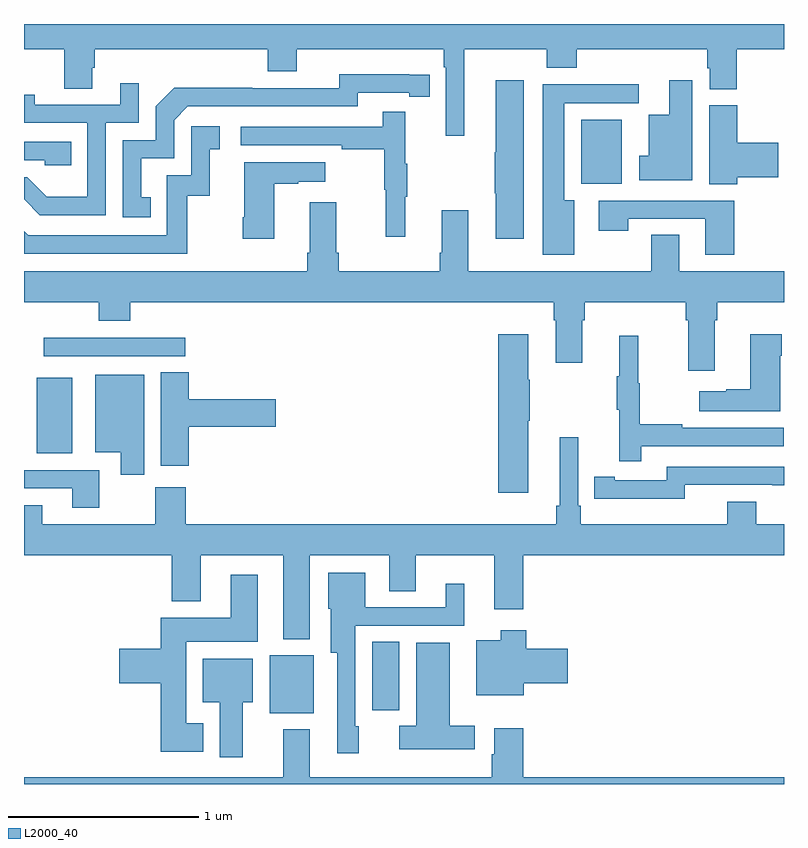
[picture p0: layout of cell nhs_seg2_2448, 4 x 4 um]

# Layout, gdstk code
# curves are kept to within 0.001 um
import gdstk
lib = gdstk.Library(unit=1e-6, precision=1e-09)
def R(c, l, rs):  # rectangles x0, y0, x1, y1
    for r in rs: c.add(gdstk.rectangle(r[:2], r[2:], *l))
def P(c, l, *ps):  # polygons
    for p in ps: c.add(gdstk.Polygon(p, *l))
L2000_40 = (2000, 40)

nhs_seg2_2448 = lib.new_cell('nhs_seg2_2448')
R(nhs_seg2_2448, L2000_40, [(240.293,612.173,240.526,612.478), (240.833,612.187,240.976,612.548), (239.066,613.541,239.254,613.939), (239.103,614.052,239.848,614.148), (241.934,614.96,242.146,615.295)])
P(nhs_seg2_2448, L2000_40, [(239,615.668),(239.212,615.668),(239.212,615.46),(239.359,615.46),(239.359,615.57),(239.372,615.57),(239.372,615.668),(240.284,615.668),(240.284,615.551),(240.436,615.551),(240.436,615.668),(241.208,615.668),(241.208,615.572),(241.221,615.572),(241.221,615.213),(241.318,615.213),(241.318,615.668),(241.75,615.668),(241.75,615.569),(241.91,615.569),(241.91,615.668),(242.597,615.668),(242.597,615.567),(242.609,615.567),(242.609,615.457),(242.75,615.457),(242.75,615.668),(243,615.668),(243,615.8),(239,615.8)],
  [(239.666,614.889),(239.617,614.889),(239.617,615.093),(239.79,615.093),(239.79,615.294),(239.862,615.366),(240.756,615.366),(240.756,615.438),(241.028,615.438),(241.028,615.418),(241.136,615.418),(241.136,615.534),(240.66,615.535),(240.66,615.462),(240.2,615.462),(240.2,615.464),(239.792,615.464),(239.694,615.366),(239.694,615.189),(239.52,615.189),(239.52,614.784),(239.666,614.784)],
  [(242.518,615.505),(242.396,615.505),(242.396,615.322),(242.288,615.322),(242.288,615.106),(242.237,615.106),(242.237,614.978),(242.518,614.978)],
  [(241.63,615.505),(241.484,615.505),(241.484,615.125),(241.477,615.125),(241.477,614.908),(241.484,614.908),(241.484,614.67),(241.63,614.67)],
  [(239.43,615.279),(239.604,615.279),(239.604,615.487),(239.507,615.487),(239.507,615.375),(239.056,615.375),(239.056,615.427),(239,615.427),(239,615.279),(239.334,615.279),(239.334,614.89),(239.12,614.89),(239.016,614.994),(239,614.994),(239,614.877),(239.084,614.793),(239.43,614.793)],
  [(241.897,614.872),(241.843,614.872),(241.843,615.384),(242.236,615.384),(242.236,615.482),(241.73,615.482),(241.73,614.586),(241.897,614.586)],
  [(242.753,614.993),(242.971,614.993),(242.971,615.176),(242.753,615.176),(242.753,615.372),(242.606,615.372),(242.606,614.956),(242.753,614.956)],
  [(241.007,614.891),(241.018,614.891),(241.018,615.065),(241.007,615.065),(241.007,615.337),(240.889,615.337),(240.889,615.258),(240.141,615.258),(240.141,615.162),(240.673,615.162),(240.673,615.142),(240.897,615.142),(240.897,614.928),(240.904,614.928),(240.904,614.679),(241.007,614.679)],
  [(239.86,614.895),(239.978,614.895),(239.978,615.141),(240.031,615.141),(240.031,615.262),(239.88,615.262),(239.88,615.003),(239.751,615.003),(239.751,614.688),(239.022,614.688),(239,614.71),(239,614.592),(239.86,614.592)],
  [(239.249,615.18),(239,615.18),(239,615.084),(239.109,615.084),(239.109,615.057),(239.249,615.057)],
  [(240.316,614.959),(240.443,614.959),(240.443,614.969),(240.586,614.969),(240.586,615.073),(240.158,615.073),(240.158,614.782),(240.151,614.782),(240.151,614.67),(240.316,614.67)],
  [(242.738,614.871),(242.025,614.871),(242.025,614.712),(242.181,614.712),(242.181,614.775),(242.585,614.775),(242.585,614.586),(242.738,614.586)],
  [(242.635,614.24),(242.648,614.24),(242.648,614.336),(243,614.336),(243,614.5),(242.449,614.5),(242.449,614.69),(242.302,614.69),(242.302,614.5),(241.339,614.5),(241.339,614.821),(241.199,614.821),(241.199,614.596),(241.187,614.596),(241.187,614.5),(240.656,614.5),(240.656,614.596),(240.643,614.596),(240.643,614.863),(240.503,614.863),(240.503,614.596),(240.491,614.596),(240.491,614.5),(239,614.5),(239,614.336),(239.393,614.336),(239.393,614.237),(239.558,614.237),(239.558,614.336),(241.787,614.336),(241.787,614.24),(241.799,614.24),(241.799,614.016),(241.939,614.016),(241.939,614.24),(241.952,614.24),(241.952,614.336),(242.483,614.336),(242.483,614.24),(242.495,614.24),(242.495,613.974),(242.635,613.974)],
  [(241.654,613.711),(241.662,613.711),(241.662,613.928),(241.654,613.928),(241.654,614.167),(241.496,614.167),(241.496,613.332),(241.654,613.332)],
  [(242.98,614.054),(242.988,614.054),(242.988,614.167),(242.822,614.167),(242.822,613.877),(242.696,613.877),(242.696,613.867),(242.553,613.867),(242.553,613.763),(242.98,613.763)],
  [(242.249,613.578),(242.998,613.578),(242.998,613.674),(242.465,613.674),(242.465,613.694),(242.242,613.694),(242.242,613.908),(242.234,613.908),(242.234,614.158),(242.132,614.158),(242.132,613.945),(242.121,613.945),(242.121,613.771),(242.132,613.771),(242.132,613.5),(242.249,613.5)],
  [(239.867,613.679),(240.325,613.679),(240.325,613.826),(239.867,613.826),(239.867,613.967),(239.72,613.967),(239.72,613.476),(239.867,613.476)],
  [(239.632,613.954),(239.375,613.954),(239.375,613.547),(239.51,613.547),(239.51,613.428),(239.632,613.428)],
  [(240.505,613.004),(240.923,613.004),(240.923,612.814),(241.063,612.814),(241.063,613.004),(241.475,613.004),(241.475,612.72),(241.628,612.72),(241.628,613.004),(243,613.004),(243,613.168),(242.855,613.168),(242.855,613.285),(242.702,613.285),(242.702,613.168),(241.931,613.168),(241.931,613.264),(241.917,613.264),(241.917,613.624),(241.82,613.624),(241.82,613.264),(241.801,613.264),(241.801,613.168),(239.852,613.168),(239.852,613.363),(239.692,613.363),(239.692,613.168),(239.095,613.168),(239.095,613.267),(239,613.267),(239,613.004),(239.777,613.004),(239.777,612.761),(239.929,612.761),(239.929,613.004),(240.365,613.004),(240.365,612.563),(240.505,612.563)],
  [(242.478,613.374),(242.938,613.374),(242.938,613.373),(243,613.373),(243,613.47),(242.382,613.47),(242.382,613.398),(242.11,613.398),(242.11,613.418),(242.002,613.418),(242.002,613.302),(242.11,613.302),(242.11,613.301),(242.478,613.301)],
  [(239.395,613.452),(239,613.452),(239,613.356),(239.255,613.356),(239.255,613.254),(239.395,613.254)],
  [(240.763,612.105),(240.744,612.105),(240.744,612.633),(241.318,612.633),(241.318,612.853),(241.22,612.853),(241.22,612.729),(240.796,612.729),(240.796,612.913),(240.602,612.913),(240.602,612.723),(240.614,612.723),(240.614,612.491),(240.648,612.491),(240.648,611.961),(240.763,611.961)],
  [(239.944,612.121),(239.854,612.121),(239.854,612.548),(240.229,612.548),(240.229,612.901),(240.089,612.901),(240.089,612.676),(239.72,612.676),(239.72,612.512),(239.502,612.512),(239.502,612.329),(239.72,612.329),(239.72,611.969),(239.944,611.969)],
  [(241.63,612.329),(241.861,612.329),(241.861,612.512),(241.643,612.512),(241.643,612.61),(241.508,612.61),(241.508,612.556),(241.379,612.556),(241.379,612.266),(241.63,612.266)],
  [(241.372,612.106),(241.24,612.106),(241.24,612.544),(241.064,612.544),(241.064,612.106),(240.976,612.106),(240.976,611.984),(241.372,611.984)],
  [(240.151,612.23),(240.205,612.23),(240.205,612.46),(239.942,612.46),(239.942,612.23),(240.029,612.23),(240.029,611.94),(240.151,611.94)],
  [(243,611.836),(241.628,611.836),(241.628,612.094),(241.475,612.094),(241.475,611.957),(241.463,611.957),(241.463,611.836),(240.505,611.836),(240.505,612.088),(240.365,612.088),(240.365,611.836),(239,611.836),(239,611.8),(243,611.8)])

lib.write_gds('nhs_seg2_2448.gds')
